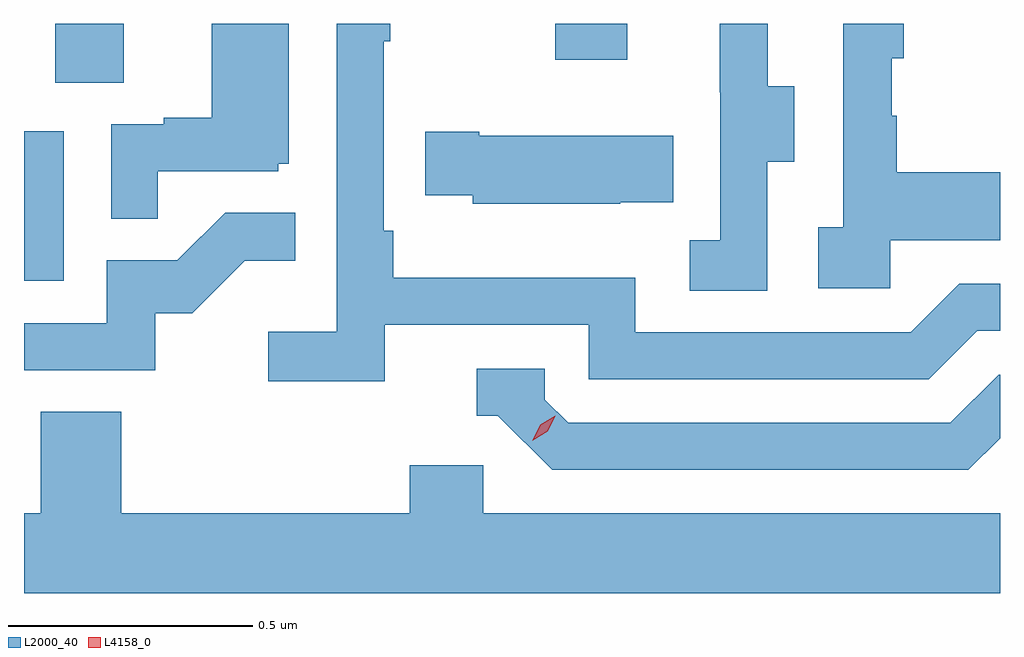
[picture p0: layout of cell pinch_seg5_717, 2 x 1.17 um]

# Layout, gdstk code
import gdstk
lib = gdstk.Library(unit=1e-6, precision=1e-09)
def R(c, l, rs):  # rectangles x0, y0, x1, y1
    for r in rs: c.add(gdstk.rectangle(r[:2], r[2:], *l))
def P(c, l, *ps):  # polygons
    for p in ps: c.add(gdstk.Polygon(p, *l))
L2000_40 = (2000, 40)
L4158_0 = (4158, 0)

pinch_seg5_717 = lib.new_cell('pinch_seg5_717')
R(pinch_seg5_717, L2000_40, [(1088.701,853.404,1088.782,853.711), (1088.765,853.81,1088.905,853.931), (1089.79,853.857,1089.937,853.931)])
P(pinch_seg5_717, L2000_40, [(1089.44,853.314),(1089.858,853.314),(1089.858,853.203),(1090.555,853.203),(1090.654,853.302),(1090.701,853.302),(1090.701,853.398),(1090.617,853.398),(1090.518,853.299),(1089.954,853.299),(1089.954,853.411),(1089.458,853.411),(1089.458,853.507),(1089.438,853.507),(1089.438,853.895),(1089.451,853.895),(1089.451,853.931),(1089.342,853.931),(1089.342,853.3),(1089.201,853.3),(1089.201,853.198),(1089.44,853.198)],
  [(1090.476,853.487),(1090.701,853.487),(1090.701,853.627),(1090.489,853.627),(1090.489,853.742),(1090.479,853.742),(1090.479,853.86),(1090.504,853.86),(1090.504,853.931),(1090.38,853.931),(1090.38,853.514),(1090.329,853.514),(1090.329,853.389),(1090.476,853.389)],
  [(1090.224,853.648),(1090.279,853.648),(1090.279,853.803),(1090.225,853.803),(1090.225,853.931),(1090.127,853.931),(1090.127,853.791),(1090.128,853.791),(1090.128,853.487),(1090.065,853.487),(1090.065,853.384),(1090.224,853.384)],
  [(1088.975,853.629),(1089.222,853.629),(1089.222,853.644),(1089.244,853.644),(1089.244,853.931),(1089.086,853.931),(1089.086,853.738),(1088.987,853.738),(1088.987,853.725),(1088.88,853.725),(1088.88,853.531),(1088.975,853.531)],
  [(1089.923,853.565),(1090.031,853.565),(1090.031,853.702),(1089.634,853.702),(1089.634,853.71),(1089.523,853.71),(1089.523,853.58),(1089.621,853.58),(1089.621,853.562),(1089.923,853.562)],
  [(1088.97,853.338),(1089.046,853.338),(1089.153,853.445),(1089.257,853.445),(1089.257,853.544),(1089.113,853.544),(1089.015,853.446),(1088.871,853.446),(1088.871,853.317),(1088.701,853.317),(1088.701,853.221),(1088.97,853.221)],
  [(1090.701,853.082),(1090.701,853.212),(1090.698,853.212),(1090.599,853.113),(1089.816,853.113),(1089.768,853.161),(1089.768,853.224),(1089.629,853.224),(1089.629,853.128),(1089.672,853.128),(1089.783,853.017),(1090.636,853.017)],
  [(1090.701,852.928),(1089.642,852.928),(1089.642,853.026),(1089.491,853.026),(1089.491,852.928),(1088.9,852.928),(1088.9,853.136),(1088.735,853.136),(1088.735,852.928),(1088.701,852.928),(1088.701,852.764),(1090.701,852.764)])
P(pinch_seg5_717, L4158_0, [(1089.743,853.077),(1089.743,853.077),(1089.759,853.109),(1089.79,853.128),(1089.79,853.128),(1089.79,853.128),(1089.774,853.096),(1089.743,853.077)])

lib.write_gds('pinch_seg5_717.gds')
